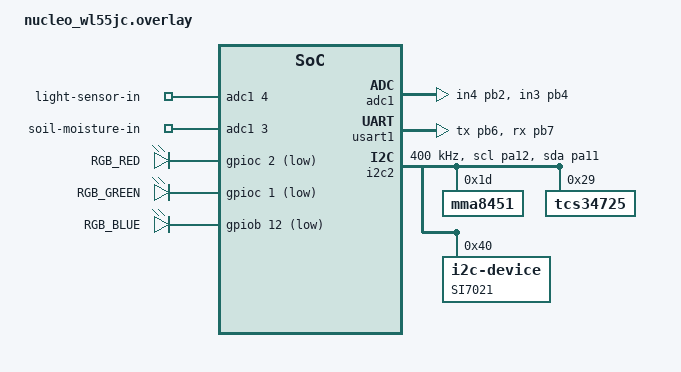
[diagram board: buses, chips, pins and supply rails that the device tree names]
#include <zephyr/dt-bindings/pinctrl/stm32-pinctrl.h>
/ {
	zephyr,user {
	/* Put PB2 (IN4) and PB4 (IN3) into analog mode */
		io-channels = <&adc1 4>, <&adc1 3>;
        io-channel-names = "light-sensor-in", "soil-moisture-in"; 
	};
    aliases {
		/* ADC device + channels */
		adc-in              = &adc1;
		/* UART and I2C buses */
		gpsuart   = &usart1;
		i2cbus    = &i2c2;

		/* LEDs */
		led-red    = &led_red;
		led-green  = &led_green;
		led-blue   = &led_blue;
	    };

	    /* A simple leds node with three children */
    leds {
        compatible = "gpio-leds";

        led_red: led_red {
            gpios = <&gpioc 2 GPIO_ACTIVE_LOW>;   /* PC2 */
            label = "RGB_RED";
        };

        led_green: led_green {
            gpios = <&gpioc 1 GPIO_ACTIVE_LOW>;   /* PC1 */
            label = "RGB_GREEN";
        };

        led_blue: led_blue {
            gpios = <&gpiob 12 GPIO_ACTIVE_LOW>;  /* PB12 */
            label = "RGB_BLUE";
        };
    };

	
};    


&adc1 {
	status = "okay";
	/* Put chosen analog pins in the default state */
	pinctrl-0 = <&adc_in4_pb2 &adc_in3_pb4>;
	pinctrl-names = "default";
};
/* -------- UART: GPS on USART1 (PB6 TX, PB7 RX) -------- */
&usart1 {
	status = "okay";
	/* Use the WL pinctrl labels for PB6/PB7 alt functions */
	pinctrl-0 = <&usart1_tx_pb6 &usart1_rx_pb7>;
	pinctrl-names = "default";
	/* Optionally choose for console/stdio if you want:
	   current-speed = <9600>; */
};

/* -------- I2C2: enable + attach three sensors (PA12=SCL, PA11=SDA) -------- */
&i2c2 {
	status = "okay";
	/* Use the board pinctrl labels for PA12/PA11 if available */
	pinctrl-0 = <&i2c2_scl_pa12 &i2c2_sda_pa11>;
	pinctrl-names = "default";
	clock-frequency = <I2C_BITRATE_FAST>;

	/* Attach I2C devices (replace compatibles/registers with real sensors) */
	//Accelerometer
	mma8451:mma8451@1d {
		label = "MMA8451"; // Podemos usar esta etiqueta en el código para obtener el dispositivo
		reg = <0x1d>;
		status = "okay";
	};
	//Color Sensor TCS34725
	tcs34725: tcs34725@29 {
		// compatible = "i2c-device";  Esta linea la omito si pongo el label
		label = "TCS34725"; // Etiqueta para el sensor de color
		reg = <0x29>;	// Direccion I2C del TCS34725
		status = "okay";
	};
	// Sensor de temperatura y humedad Si7021
	si7021: si7021@40 {
		label = "SI7021"; 
		compatible = "i2c-device"; //Dirección del sensor Si7021
		reg = <0x40>;
		status = "okay";
	};
	
};




// / {
// 	aliases {
// 		

// 		/* UART and I2C buses */
// 		gpsuart   = &usart1;
// 		i2cbus    = &i2c1;

// 		/* LEDs */
// 		led-red    = &led_red;
// 		led-green  = &led_green;
// 		led-blue   = &led_blue;

// 		// /* Optional: aliases for the three I2C sensors */
// 		// proj_i2c_sens0  = &i2c_sens0;
// 		// proj_i2c_sens1  = &i2c_sens1;
// 		// proj_i2c_sens2  = &i2c_sens2;
// 	    };
//     /* A simple leds node with three children */
//     leds {
//         compatible = "gpio-leds";

//         led_red: led_red {
//             gpios = <&gpioc 2 GPIO_ACTIVE_LOW>;   /* PC2 */
//             label = "RGB_RED";
//         };

//         led_green: led_green {
//             gpios = <&gpioc 1 GPIO_ACTIVE_LOW>;   /* PC1 */
//             label = "RGB_GREEN";
//         };

//         led_blue: led_blue {
//             gpios = <&gpiob 12 GPIO_ACTIVE_LOW>;  /* PB12 */
//             label = "RGB_BLUE";
//         };
//     };



// };

// /* -------- UART: GPS on USART1 (PB6 TX, PB7 RX) -------- */
// &usart1 {
// 	status = "okay";
// 	/* Use the WL pinctrl labels for PB6/PB7 alt functions */
// 	pinctrl-0 = <&usart1_tx_pb6 &usart1_rx_pb7>;
// 	pinctrl-names = "default";
// 	/* Optionally choose for console/stdio if you want:
// 	   current-speed = <9600>; */
// };

// /* -------- I2C1: enable + attach three sensors -------- */
// // &i2c1 {
// // 	status = "okay";
// // 	/* If your board dts already defines pinctrl for I2C1, you can omit these.
// // 	   Typical Nucleo Arduino A5/A4 are PB8/PB9 for I2C1 (SCL/SDA): */
// // 	/* pinctrl-0 = <&i2c1_scl_pb8 &i2c1_sda_pb9>;
// // 	   pinctrl-names = "default"; */

// // 	/* Replace compatibles + reg addresses with your actual sensors */
// // 	i2c_sens0: sensor0@0x18 {
// // 		/* Example: "ti,ina219", "bosch,bme280", etc. */
// // 		compatible = "i2c-device";
// // 		reg = <0x18>;
// // 		status = "okay";
// // 	};

// // 	i2c_sens1: sensor1@0x40 {
// // 		compatible = "i2c-device";
// // 		reg = <0x40>;
// // 		status = "okay";
// // 	};

// // 	i2c_sens2: sensor2@0x76 {
// // 		compatible = "i2c-device";
// // 		reg = <0x76>;
// // 		status = "okay";
// // 	};
// // };

/* -------- RGB LEDs -------- */
/* Use the standard gpio-leds binding so you can get them with LED API */
&gpioc { status = "okay"; };
&gpiob { status = "okay"; };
